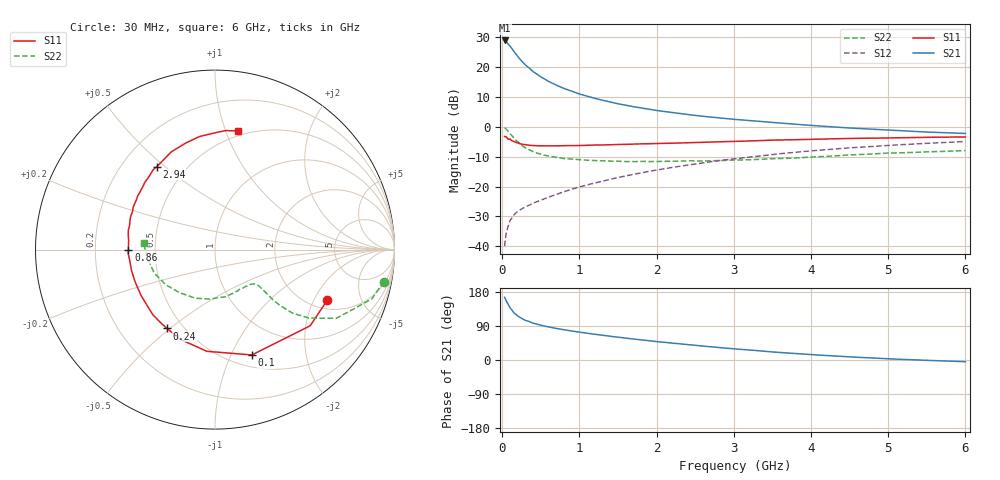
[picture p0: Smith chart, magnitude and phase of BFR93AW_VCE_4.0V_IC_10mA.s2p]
! Infineon Technologies  Discrete & RF Semiconductors
! BFR93AW
! VCE =  4.0 V,  IC =  10 mA
! Common Emitter S-Parameters:  Nov 2015
# GHz  S  MA  R  50
!  f  S11  S21  S12  S22
! GHz  MAG  ANG  MAG  ANG  MAG  ANG  MAG  ANG
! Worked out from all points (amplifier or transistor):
!   206 points, 30 MHz to 6 GHz, reference 50 ohm
!   highest |S21| = 28.8 dB at 30 MHz (marker M1)
!   |S21| within 3 dB of that: start of sweep to 131.2 MHz
!   unconditionally stable (mu >= 1): 740.5 MHz to 2.24 GHz
!   at 200 MHz: K = 0.49, MSG = 25.9 dB, |S12| = -28.3 dB
!   at 1.56 GHz: K = 1.06, MAG = 10.5 dB, |S12| = -16.7 dB
!   at 6 GHz: K = 0.91, MSG = 1.4 dB, |S12| = -5.0 dB
!   S11 on the Smith chart (normalised r, x): 30 MHz: 2.39, -2.56; 100 MHz: 0.63, -1.20; 240 MHz: 0.41, -0.49; 860 MHz: 0.35, -0.00; 2.94 GHz: 0.35, +0.47; 6 GHz: 0.46, +1.10
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0.03  0.6859 -24.4  27.54 165.5  0.0101 76.5  0.9576 -10.7
0.05  0.6792 -38.7  26.48 155.9  0.0165 72.2  0.9156 -17.5
0.1  0.6219 -70.7  22.28 137.4  0.0269 62.1  0.7763 -29.6
0.15  0.5684 -94.6  18.02 124.6  0.0336 56.2  0.6474 -36.1
0.2  0.5363 -110.9  14.89 115.9  0.0386 53.2  0.5563 -39.4
0.24  0.5143 -121.3  12.95 110.8  0.0416 52.5  0.5018 -40.3
0.26  0.5084 -125.9  12.13 108.5  0.043 52.4  0.4791 -40.6
0.3  0.5016 -133.8  10.74 104.5  0.0456 52.6  0.4425 -40.9
0.4  0.4849 -148.1  8.303 97.1  0.0528 54.5  0.3809 -40.3
0.5  0.48 -158.3  6.779 91.5  0.0592 56.7  0.3436 -39.9
0.6  0.4794 -165.6  5.704 87.1  0.0664 59.3  0.3224 -39.5
0.7  0.4783 -171.9  4.944 83.2  0.0739 61.0  0.3077 -39.8
0.86  0.4827 -179.8  4.071 77.9  0.0869 63.0  0.2904 -41.2
1.04  0.4859 172.7  3.397 72.3  0.1017 64.6  0.2788 -43.8
1.2  0.495 167.2  2.963 67.8  0.1148 65.4  0.272 -46.7
1.5  0.5051 158.5  2.411 60.2  0.1412 66.0  0.2652 -53.4
2.02  0.5245 144.8  1.852 48.2  0.1904 64.8  0.2632 -67.5
2.94  0.5652 125.0  1.351 30.6  0.2842 59.0  0.2749 -93.3
3.1  0.5715 121.7  1.296 28.0  0.3006 57.5  0.2779 -98.5
4.1  0.6188 103.8  1.029 13.0  0.4039 47.5  0.3146 -132.9
5.1  0.6515 89.7  0.863 2.3  0.4949 35.9  0.3646 -161.9
6  0.6731 79.0  0.771 -4.5  0.5649 25.7  0.3998 174.7
